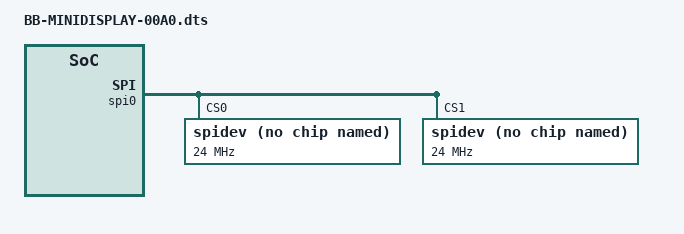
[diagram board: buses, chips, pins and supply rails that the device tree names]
/dts-v1/;
/plugin/;

/ {
    compatible = "ti,beaglebone", "ti,beaglebone-black";

    /* identification */
    part-number = "BB-MINIDISPLAY";

    /* version */
    version = "00A0";
	

/* state the resources this cape uses */
	exclusive-use =
		/* the pin header uses */
		"P9.23",	/* lcd: gpio1_17 */
		"P9.22",	/* spi: spi0_sclk */
		"P9.18",	/* spi: spi0_d1 */
		"P9.17",	/* spi: spi0_cs0 */
		/* the hardware IP uses */
		"gpio1_17",
		"spi0";

    fragment@0 {
        target = <&am33xx_pinmux>;
        __overlay__ {
            spi0_pins_s0: spi0_pins_s0 {
                pinctrl-single,pins = <
                  0x044 0x10 /* LCD_RESET, OUTPUT_PULLUP | MODE0 */
                  0x150 0x30 /* spi0_sclk, INPUT_PULLUP | MODE0 */
                  0x158 0x10 /* spi0_d1, OUTPUT_PULLUP | MODE0 */
                  0x15c 0x10 /* spi0_cs0, OUTPUT_PULLUP | MODE0 */
                >;
            };
        };
    };

    fragment@1 {
        target = <&spi0>;
        __overlay__ {
             #address-cells = <1>;
             #size-cells = <0>;

             status = "okay";
             pinctrl-names = "default";
             pinctrl-0 = <&spi0_pins_s0>;

             spidev@0 {
                 spi-max-frequency = <24000000>;
                 reg = <0>;
                 compatible = "spidev";
             };
             spidev@1 {
                 spi-max-frequency = <24000000>;
                 reg = <1>;
                 compatible = "spidev";
             };
        };
    };
};
